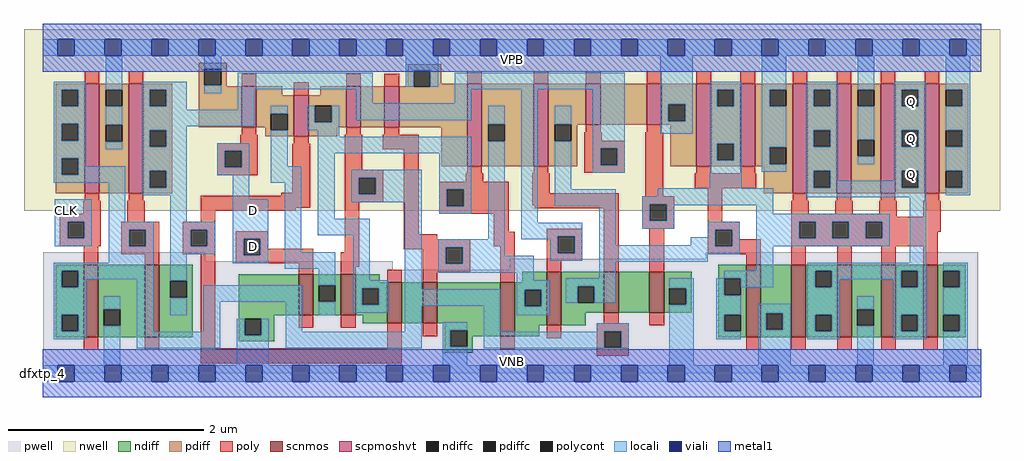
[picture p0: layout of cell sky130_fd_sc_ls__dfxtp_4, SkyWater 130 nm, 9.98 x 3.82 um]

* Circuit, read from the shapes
.subckt sky130_fd_sc_ls__dfxtp_4 CLK D VGND VNB VPB VPWR Q
XM1 VGND CLK n1 VNB sky130_fd_pr__nfet_01v8 w=0.74 l=0.15
XM2 n2 n1 VGND VNB sky130_fd_pr__nfet_01v8 w=0.74 l=0.15
XM3 n3 D VGND VNB sky130_fd_pr__nfet_01v8 w=0.42 l=0.15
XM4 n4 n1 n3 VNB sky130_fd_pr__nfet_01v8 w=0.42 l=0.15
XM5 n5 n2 n4 VNB sky130_fd_pr__nfet_01v8 w=0.42 l=0.15
XM6 VGND n6 n5 VNB sky130_fd_pr__nfet_01v8 w=0.42 l=0.15
XM7 n6 n4 VGND VNB sky130_fd_pr__nfet_01v8 w=0.55 l=0.15
XM8 n7 n2 n6 VNB sky130_fd_pr__nfet_01v8 w=0.55 l=0.15
XM9 n8 n1 n7 VNB sky130_fd_pr__nfet_01v8 w=0.42 l=0.15
XM10 VGND n9 n8 VNB sky130_fd_pr__nfet_01v8 w=0.42 l=0.15
XM11 VGND n7 n9 VNB sky130_fd_pr__nfet_01v8 w=0.74 l=0.15
XM12 Q n9 VGND VNB sky130_fd_pr__nfet_01v8 w=0.74 l=0.15 m=4
XM13 VPWR CLK n1 VPB sky130_fd_pr__pfet_01v8_hvt w=1.12 l=0.15
XM14 n2 n1 VPWR VPB sky130_fd_pr__pfet_01v8_hvt w=1.12 l=0.15
XM15 n3 D VPWR VPB sky130_fd_pr__pfet_01v8_hvt w=0.42 l=0.15
XM16 n4 n2 n3 VPB sky130_fd_pr__pfet_01v8_hvt w=0.42 l=0.15
XM17 n10 n1 n4 VPB sky130_fd_pr__pfet_01v8_hvt w=0.42 l=0.15
XM18 VPWR n6 n10 VPB sky130_fd_pr__pfet_01v8_hvt w=0.42 l=0.15
XM19 n6 n4 VPWR VPB sky130_fd_pr__pfet_01v8_hvt w=0.84 l=0.15
XM20 n7 n1 n6 VPB sky130_fd_pr__pfet_01v8_hvt w=0.84 l=0.15
XM21 n11 n2 n7 VPB sky130_fd_pr__pfet_01v8_hvt w=0.42 l=0.15
XM22 VPWR n9 n11 VPB sky130_fd_pr__pfet_01v8_hvt w=0.42 l=0.15
XM23 n9 n7 VPWR VPB sky130_fd_pr__pfet_01v8_hvt w=0.84 l=0.15 m=2
XM24 Q n9 VPWR VPB sky130_fd_pr__pfet_01v8_hvt w=1.12 l=0.15 m=4
.ends

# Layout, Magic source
magic
tech sky130A
magscale 1 2
<< nwell >>
rect -38 332 1958 704
<< pwell >>
rect 1 229 333 248
rect 1356 234 1914 248
rect 1 212 716 229
rect 955 212 1914 234
rect 1 49 1914 212
rect 0 0 1920 49
<< scnmos >>
rect 84 74 114 222
rect 209 74 239 222
rect 524 119 554 203
rect 610 119 640 203
rect 705 102 735 186
rect 777 102 807 186
rect 936 76 966 186
rect 1031 98 1061 208
rect 1148 124 1178 208
rect 1241 124 1271 208
rect 1439 74 1469 222
rect 1531 74 1561 222
rect 1625 74 1655 222
rect 1715 74 1745 222
rect 1801 74 1831 222
<< scpmoshvt >>
rect 86 368 116 592
rect 176 368 206 592
rect 407 503 437 587
rect 514 485 544 569
rect 621 503 651 587
rect 699 503 729 587
rect 868 424 898 592
rect 1004 424 1034 592
rect 1111 508 1141 592
rect 1236 508 1266 592
rect 1337 424 1367 592
rect 1427 424 1457 592
rect 1534 368 1564 592
rect 1624 368 1654 592
rect 1714 368 1744 592
rect 1804 368 1834 592
<< ndiff >>
rect 27 210 84 222
rect 27 176 39 210
rect 73 176 84 210
rect 27 120 84 176
rect 27 86 39 120
rect 73 86 84 120
rect 27 74 84 86
rect 114 131 209 222
rect 114 97 125 131
rect 159 97 209 131
rect 114 74 209 97
rect 239 189 307 222
rect 239 155 261 189
rect 295 155 307 189
rect 239 74 307 155
rect 401 119 524 203
rect 554 180 610 203
rect 554 146 565 180
rect 599 146 610 180
rect 554 119 610 146
rect 640 186 690 203
rect 981 186 1031 208
rect 640 174 705 186
rect 640 140 654 174
rect 688 140 705 174
rect 640 119 705 140
rect 401 112 474 119
rect 401 78 413 112
rect 447 78 474 112
rect 655 102 705 119
rect 735 102 777 186
rect 807 102 936 186
rect 401 66 474 78
rect 822 88 936 102
rect 822 54 834 88
rect 868 76 936 88
rect 966 171 1031 186
rect 966 137 986 171
rect 1020 137 1031 171
rect 966 98 1031 137
rect 1061 178 1148 208
rect 1061 144 1094 178
rect 1128 144 1148 178
rect 1061 124 1148 144
rect 1178 124 1241 208
rect 1271 174 1328 208
rect 1271 140 1282 174
rect 1316 140 1328 174
rect 1271 124 1328 140
rect 1382 194 1439 222
rect 1382 160 1394 194
rect 1428 160 1439 194
rect 1061 98 1111 124
rect 966 76 1016 98
rect 868 54 880 76
rect 822 42 880 54
rect 1382 120 1439 160
rect 1382 86 1394 120
rect 1428 86 1439 120
rect 1382 74 1439 86
rect 1469 123 1531 222
rect 1469 89 1480 123
rect 1514 89 1531 123
rect 1469 74 1531 89
rect 1561 210 1625 222
rect 1561 176 1580 210
rect 1614 176 1625 210
rect 1561 120 1625 176
rect 1561 86 1580 120
rect 1614 86 1625 120
rect 1561 74 1625 86
rect 1655 131 1715 222
rect 1655 97 1666 131
rect 1700 97 1715 131
rect 1655 74 1715 97
rect 1745 210 1801 222
rect 1745 176 1756 210
rect 1790 176 1801 210
rect 1745 120 1801 176
rect 1745 86 1756 120
rect 1790 86 1801 120
rect 1745 74 1801 86
rect 1831 210 1888 222
rect 1831 176 1842 210
rect 1876 176 1888 210
rect 1831 120 1888 176
rect 1831 86 1842 120
rect 1876 86 1888 120
rect 1831 74 1888 86
<< pdiff >>
rect 319 623 377 635
rect 27 580 86 592
rect 27 546 39 580
rect 73 546 86 580
rect 27 510 86 546
rect 27 476 39 510
rect 73 476 86 510
rect 27 440 86 476
rect 27 406 39 440
rect 73 406 86 440
rect 27 368 86 406
rect 116 580 176 592
rect 116 546 129 580
rect 163 546 176 580
rect 116 508 176 546
rect 116 474 129 508
rect 163 474 176 508
rect 116 368 176 474
rect 206 580 265 592
rect 206 546 219 580
rect 253 546 265 580
rect 206 497 265 546
rect 319 589 331 623
rect 365 589 377 623
rect 747 620 815 632
rect 319 587 377 589
rect 319 503 407 587
rect 437 569 490 587
rect 747 587 759 620
rect 568 569 621 587
rect 437 531 514 569
rect 437 503 467 531
rect 206 463 219 497
rect 253 463 265 497
rect 455 497 467 503
rect 501 497 514 531
rect 455 485 514 497
rect 544 547 621 569
rect 544 513 557 547
rect 591 513 621 547
rect 544 503 621 513
rect 651 503 699 587
rect 729 586 759 587
rect 793 592 815 620
rect 793 586 868 592
rect 729 503 868 586
rect 544 485 603 503
rect 206 414 265 463
rect 206 380 219 414
rect 253 380 265 414
rect 206 368 265 380
rect 815 424 868 503
rect 898 509 1004 592
rect 898 475 911 509
rect 945 475 1004 509
rect 898 424 1004 475
rect 1034 509 1111 592
rect 1034 475 1047 509
rect 1081 508 1111 509
rect 1141 508 1236 592
rect 1266 550 1337 592
rect 1266 516 1280 550
rect 1314 516 1337 550
rect 1266 508 1337 516
rect 1081 475 1093 508
rect 1034 424 1093 475
rect 1284 424 1337 508
rect 1367 580 1427 592
rect 1367 546 1380 580
rect 1414 546 1427 580
rect 1367 470 1427 546
rect 1367 436 1380 470
rect 1414 436 1427 470
rect 1367 424 1427 436
rect 1457 580 1534 592
rect 1457 546 1487 580
rect 1521 546 1534 580
rect 1457 462 1534 546
rect 1457 428 1487 462
rect 1521 428 1534 462
rect 1457 424 1534 428
rect 1475 368 1534 424
rect 1564 580 1624 592
rect 1564 546 1577 580
rect 1611 546 1624 580
rect 1564 497 1624 546
rect 1564 463 1577 497
rect 1611 463 1624 497
rect 1564 414 1624 463
rect 1564 380 1577 414
rect 1611 380 1624 414
rect 1564 368 1624 380
rect 1654 580 1714 592
rect 1654 546 1667 580
rect 1701 546 1714 580
rect 1654 478 1714 546
rect 1654 444 1667 478
rect 1701 444 1714 478
rect 1654 368 1714 444
rect 1744 580 1804 592
rect 1744 546 1757 580
rect 1791 546 1804 580
rect 1744 497 1804 546
rect 1744 463 1757 497
rect 1791 463 1804 497
rect 1744 414 1804 463
rect 1744 380 1757 414
rect 1791 380 1804 414
rect 1744 368 1804 380
rect 1834 580 1893 592
rect 1834 546 1847 580
rect 1881 546 1893 580
rect 1834 497 1893 546
rect 1834 463 1847 497
rect 1881 463 1893 497
rect 1834 414 1893 463
rect 1834 380 1847 414
rect 1881 380 1893 414
rect 1834 368 1893 380
<< ndiffc >>
rect 39 176 73 210
rect 39 86 73 120
rect 125 97 159 131
rect 261 155 295 189
rect 565 146 599 180
rect 654 140 688 174
rect 413 78 447 112
rect 834 54 868 88
rect 986 137 1020 171
rect 1094 144 1128 178
rect 1282 140 1316 174
rect 1394 160 1428 194
rect 1394 86 1428 120
rect 1480 89 1514 123
rect 1580 176 1614 210
rect 1580 86 1614 120
rect 1666 97 1700 131
rect 1756 176 1790 210
rect 1756 86 1790 120
rect 1842 176 1876 210
rect 1842 86 1876 120
<< pdiffc >>
rect 39 546 73 580
rect 39 476 73 510
rect 39 406 73 440
rect 129 546 163 580
rect 129 474 163 508
rect 219 546 253 580
rect 331 589 365 623
rect 219 463 253 497
rect 467 497 501 531
rect 557 513 591 547
rect 759 586 793 620
rect 219 380 253 414
rect 911 475 945 509
rect 1047 475 1081 509
rect 1280 516 1314 550
rect 1380 546 1414 580
rect 1380 436 1414 470
rect 1487 546 1521 580
rect 1487 428 1521 462
rect 1577 546 1611 580
rect 1577 463 1611 497
rect 1577 380 1611 414
rect 1667 546 1701 580
rect 1667 444 1701 478
rect 1757 546 1791 580
rect 1757 463 1791 497
rect 1757 380 1791 414
rect 1847 546 1881 580
rect 1847 463 1881 497
rect 1847 380 1881 414
<< poly >>
rect 86 592 116 618
rect 176 592 206 618
rect 407 587 437 613
rect 514 569 544 595
rect 621 587 651 613
rect 699 587 729 613
rect 407 488 437 503
rect 404 471 440 488
rect 868 592 898 618
rect 1004 592 1034 618
rect 1111 592 1141 618
rect 1236 592 1266 618
rect 1337 592 1367 618
rect 1427 592 1457 618
rect 1534 592 1564 618
rect 1624 592 1654 618
rect 1714 592 1744 618
rect 1804 592 1834 618
rect 621 488 651 503
rect 699 488 729 503
rect 357 455 440 471
rect 514 470 544 485
rect 357 421 373 455
rect 407 421 440 455
rect 357 405 440 421
rect 511 369 547 470
rect 86 353 116 368
rect 176 353 206 368
rect 488 363 547 369
rect 83 326 119 353
rect 35 310 119 326
rect 173 310 209 353
rect 323 339 547 363
rect 618 416 654 488
rect 696 458 769 488
rect 618 400 697 416
rect 618 366 647 400
rect 681 366 697 400
rect 618 350 697 366
rect 323 333 518 339
rect 323 310 353 333
rect 35 276 51 310
rect 85 276 119 310
rect 35 260 119 276
rect 161 294 239 310
rect 161 260 177 294
rect 211 260 239 294
rect 84 222 114 260
rect 161 244 239 260
rect 287 294 353 310
rect 287 260 303 294
rect 337 260 353 294
rect 287 244 353 260
rect 209 222 239 244
rect 84 48 114 74
rect 209 48 239 74
rect 323 51 353 244
rect 395 275 461 291
rect 395 241 411 275
rect 445 255 461 275
rect 445 241 554 255
rect 618 248 648 350
rect 739 284 769 458
rect 1111 493 1141 508
rect 1236 493 1266 508
rect 1108 476 1144 493
rect 1108 460 1191 476
rect 1108 426 1141 460
rect 1175 426 1191 460
rect 868 409 898 424
rect 1004 409 1034 424
rect 1108 410 1191 426
rect 865 392 901 409
rect 811 376 953 392
rect 811 342 827 376
rect 861 342 953 376
rect 1001 368 1037 409
rect 1001 344 1178 368
rect 1233 362 1269 493
rect 1337 409 1367 424
rect 1427 409 1457 424
rect 1334 379 1460 409
rect 811 326 953 342
rect 1007 338 1178 344
rect 923 290 953 326
rect 739 274 807 284
rect 739 258 875 274
rect 923 260 966 290
rect 739 254 825 258
rect 395 225 554 241
rect 524 203 554 225
rect 610 218 648 248
rect 777 224 825 254
rect 859 224 875 258
rect 610 203 640 218
rect 705 186 735 212
rect 777 208 875 224
rect 777 186 807 208
rect 936 186 966 260
rect 1031 280 1104 296
rect 1031 246 1054 280
rect 1088 246 1104 280
rect 1031 230 1104 246
rect 1031 208 1061 230
rect 1148 208 1178 338
rect 1226 346 1292 362
rect 1226 312 1242 346
rect 1276 312 1292 346
rect 1226 296 1292 312
rect 1360 310 1390 379
rect 1534 353 1564 368
rect 1624 353 1654 368
rect 1714 353 1744 368
rect 1804 353 1834 368
rect 1531 326 1567 353
rect 1621 326 1657 353
rect 1711 326 1747 353
rect 1531 320 1747 326
rect 1801 320 1837 353
rect 1531 310 1837 320
rect 1241 208 1271 296
rect 1360 294 1426 310
rect 1360 260 1376 294
rect 1410 274 1426 294
rect 1531 276 1547 310
rect 1581 276 1615 310
rect 1649 276 1683 310
rect 1717 290 1837 310
rect 1717 276 1831 290
rect 1410 260 1469 274
rect 1360 244 1469 260
rect 1439 222 1469 244
rect 1531 260 1831 276
rect 1531 222 1561 260
rect 1625 222 1655 260
rect 1715 222 1745 260
rect 1801 222 1831 260
rect 524 93 554 119
rect 610 93 640 119
rect 705 51 735 102
rect 777 76 807 102
rect 323 21 735 51
rect 1148 102 1178 124
rect 936 50 966 76
rect 1031 72 1061 98
rect 1133 86 1199 102
rect 1241 98 1271 124
rect 1133 52 1149 86
rect 1183 52 1199 86
rect 1133 36 1199 52
rect 1439 48 1469 74
rect 1531 48 1561 74
rect 1625 48 1655 74
rect 1715 48 1745 74
rect 1801 48 1831 74
<< polycont >>
rect 373 421 407 455
rect 647 366 681 400
rect 51 276 85 310
rect 177 260 211 294
rect 303 260 337 294
rect 411 241 445 275
rect 1141 426 1175 460
rect 827 342 861 376
rect 825 224 859 258
rect 1054 246 1088 280
rect 1242 312 1276 346
rect 1376 260 1410 294
rect 1547 276 1581 310
rect 1615 276 1649 310
rect 1683 276 1717 310
rect 1149 52 1183 86
<< locali >>
rect 0 649 31 683
rect 65 649 127 683
rect 161 649 223 683
rect 257 649 319 683
rect 353 649 415 683
rect 449 649 511 683
rect 545 649 607 683
rect 641 649 703 683
rect 737 649 799 683
rect 833 649 895 683
rect 929 649 991 683
rect 1025 649 1087 683
rect 1121 649 1183 683
rect 1217 649 1279 683
rect 1313 649 1375 683
rect 1409 649 1471 683
rect 1505 649 1567 683
rect 1601 649 1663 683
rect 1697 649 1759 683
rect 1793 649 1855 683
rect 1889 649 1920 683
rect 23 580 89 596
rect 23 546 39 580
rect 73 546 89 580
rect 23 510 89 546
rect 23 476 39 510
rect 73 476 89 510
rect 23 440 89 476
rect 129 580 163 649
rect 331 623 365 649
rect 129 508 163 546
rect 129 458 163 474
rect 203 580 295 596
rect 203 546 219 580
rect 253 546 295 580
rect 743 620 809 649
rect 331 573 365 589
rect 399 581 675 615
rect 743 586 759 620
rect 793 586 809 620
rect 203 539 295 546
rect 399 539 433 581
rect 641 552 675 581
rect 843 581 1191 615
rect 843 552 877 581
rect 203 505 433 539
rect 467 531 501 547
rect 203 497 295 505
rect 203 463 219 497
rect 253 463 295 497
rect 541 513 557 547
rect 591 513 607 547
rect 641 518 877 552
rect 541 497 607 513
rect 23 406 39 440
rect 73 424 89 440
rect 73 406 169 424
rect 23 390 169 406
rect 25 310 101 356
rect 25 276 51 310
rect 85 276 101 310
rect 25 260 101 276
rect 135 310 169 390
rect 203 414 295 463
rect 203 380 219 414
rect 253 380 295 414
rect 357 455 423 471
rect 357 421 373 455
rect 407 421 423 455
rect 357 405 423 421
rect 203 364 295 380
rect 261 310 295 364
rect 389 356 423 405
rect 467 424 501 497
rect 563 484 607 497
rect 911 509 945 547
rect 563 450 877 484
rect 467 390 529 424
rect 135 294 227 310
rect 135 260 177 294
rect 211 260 227 294
rect 135 226 227 260
rect 23 210 227 226
rect 23 176 39 210
rect 73 192 227 210
rect 73 176 89 192
rect 23 120 89 176
rect 23 86 39 120
rect 73 86 89 120
rect 23 70 89 86
rect 125 131 159 158
rect 125 17 159 97
rect 193 85 227 192
rect 261 294 353 310
rect 261 260 303 294
rect 337 260 353 294
rect 261 244 353 260
rect 389 275 461 356
rect 261 189 295 244
rect 389 241 411 275
rect 445 241 461 275
rect 389 225 461 241
rect 495 248 529 390
rect 563 316 597 450
rect 631 400 775 416
rect 631 366 647 400
rect 681 366 775 400
rect 631 350 775 366
rect 563 282 669 316
rect 495 214 599 248
rect 565 180 599 214
rect 261 119 295 155
rect 329 146 531 180
rect 329 85 363 146
rect 193 51 363 85
rect 397 78 413 112
rect 447 78 463 112
rect 397 17 463 78
rect 497 85 531 146
rect 565 119 599 146
rect 635 190 669 282
rect 635 174 707 190
rect 635 140 654 174
rect 688 140 707 174
rect 635 124 707 140
rect 741 172 775 350
rect 811 376 877 450
rect 811 342 827 376
rect 861 342 877 376
rect 811 326 877 342
rect 911 274 945 475
rect 979 308 1013 581
rect 1047 509 1081 547
rect 1047 376 1081 475
rect 1125 460 1191 581
rect 1263 550 1330 649
rect 1263 516 1280 550
rect 1314 516 1330 550
rect 1263 490 1330 516
rect 1364 580 1430 596
rect 1364 546 1380 580
rect 1414 546 1430 580
rect 1125 426 1141 460
rect 1175 426 1191 460
rect 1125 410 1191 426
rect 1364 470 1430 546
rect 1364 436 1380 470
rect 1414 436 1430 470
rect 1364 378 1430 436
rect 1471 580 1521 649
rect 1471 546 1487 580
rect 1471 462 1521 546
rect 1471 428 1487 462
rect 1471 412 1521 428
rect 1561 580 1627 596
rect 1561 546 1577 580
rect 1611 546 1627 580
rect 1561 497 1627 546
rect 1561 463 1577 497
rect 1611 463 1627 497
rect 1561 414 1627 463
rect 1667 580 1701 649
rect 1667 478 1701 546
rect 1667 428 1701 444
rect 1741 580 1807 596
rect 1741 546 1757 580
rect 1791 546 1807 580
rect 1741 497 1807 546
rect 1741 463 1757 497
rect 1791 463 1807 497
rect 1561 380 1577 414
rect 1611 394 1627 414
rect 1741 414 1807 463
rect 1741 394 1757 414
rect 1611 380 1757 394
rect 1791 380 1807 414
rect 1047 342 1172 376
rect 1258 362 1494 378
rect 979 280 1104 308
rect 979 274 1054 280
rect 809 258 945 274
rect 809 224 825 258
rect 859 240 945 258
rect 1038 246 1054 274
rect 1088 246 1104 280
rect 859 224 1004 240
rect 1038 230 1104 246
rect 1138 262 1172 342
rect 1226 346 1494 362
rect 1561 360 1807 380
rect 1847 580 1897 649
rect 1881 546 1897 580
rect 1847 497 1897 546
rect 1881 463 1897 497
rect 1847 414 1897 463
rect 1881 380 1897 414
rect 1847 364 1897 380
rect 1226 312 1242 346
rect 1276 344 1494 346
rect 1276 312 1292 344
rect 1226 296 1292 312
rect 1460 326 1494 344
rect 1460 310 1733 326
rect 1360 294 1426 310
rect 1360 278 1376 294
rect 1326 262 1376 278
rect 1138 260 1376 262
rect 1410 260 1426 294
rect 1138 244 1426 260
rect 1460 276 1547 310
rect 1581 276 1615 310
rect 1649 276 1683 310
rect 1717 276 1733 310
rect 1460 260 1733 276
rect 809 206 1004 224
rect 970 190 1004 206
rect 1138 228 1360 244
rect 1138 194 1172 228
rect 1460 210 1494 260
rect 1773 226 1807 360
rect 1394 194 1494 210
rect 741 138 936 172
rect 741 85 775 138
rect 497 51 775 85
rect 818 88 868 104
rect 818 54 834 88
rect 818 17 868 54
rect 902 85 936 138
rect 970 171 1036 190
rect 970 137 986 171
rect 1020 137 1036 171
rect 1070 178 1172 194
rect 1070 144 1094 178
rect 1128 144 1172 178
rect 1282 174 1332 194
rect 970 119 1036 137
rect 1316 140 1332 174
rect 1133 86 1199 102
rect 1133 85 1149 86
rect 902 52 1149 85
rect 1183 52 1199 86
rect 902 51 1199 52
rect 1282 17 1332 140
rect 1378 160 1394 194
rect 1428 176 1494 194
rect 1564 210 1807 226
rect 1564 176 1580 210
rect 1614 192 1756 210
rect 1614 176 1630 192
rect 1378 120 1428 160
rect 1378 86 1394 120
rect 1378 70 1428 86
rect 1464 123 1530 142
rect 1464 89 1480 123
rect 1514 89 1530 123
rect 1464 17 1530 89
rect 1564 120 1630 176
rect 1740 176 1756 192
rect 1790 176 1807 210
rect 1564 86 1580 120
rect 1614 86 1630 120
rect 1564 70 1630 86
rect 1666 131 1700 158
rect 1666 17 1700 97
rect 1740 120 1807 176
rect 1740 86 1756 120
rect 1790 86 1807 120
rect 1740 70 1807 86
rect 1842 210 1892 226
rect 1876 176 1892 210
rect 1842 120 1892 176
rect 1876 86 1892 120
rect 1842 17 1892 86
rect 0 -17 31 17
rect 65 -17 127 17
rect 161 -17 223 17
rect 257 -17 319 17
rect 353 -17 415 17
rect 449 -17 511 17
rect 545 -17 607 17
rect 641 -17 703 17
rect 737 -17 799 17
rect 833 -17 895 17
rect 929 -17 991 17
rect 1025 -17 1087 17
rect 1121 -17 1183 17
rect 1217 -17 1279 17
rect 1313 -17 1375 17
rect 1409 -17 1471 17
rect 1505 -17 1567 17
rect 1601 -17 1663 17
rect 1697 -17 1759 17
rect 1793 -17 1855 17
rect 1889 -17 1920 17
<< viali >>
rect 31 649 65 683
rect 127 649 161 683
rect 223 649 257 683
rect 319 649 353 683
rect 415 649 449 683
rect 511 649 545 683
rect 607 649 641 683
rect 703 649 737 683
rect 799 649 833 683
rect 895 649 929 683
rect 991 649 1025 683
rect 1087 649 1121 683
rect 1183 649 1217 683
rect 1279 649 1313 683
rect 1375 649 1409 683
rect 1471 649 1505 683
rect 1567 649 1601 683
rect 1663 649 1697 683
rect 1759 649 1793 683
rect 1855 649 1889 683
rect 31 -17 65 17
rect 127 -17 161 17
rect 223 -17 257 17
rect 319 -17 353 17
rect 415 -17 449 17
rect 511 -17 545 17
rect 607 -17 641 17
rect 703 -17 737 17
rect 799 -17 833 17
rect 895 -17 929 17
rect 991 -17 1025 17
rect 1087 -17 1121 17
rect 1183 -17 1217 17
rect 1279 -17 1313 17
rect 1375 -17 1409 17
rect 1471 -17 1505 17
rect 1567 -17 1601 17
rect 1663 -17 1697 17
rect 1759 -17 1793 17
rect 1855 -17 1889 17
<< metal1 >>
rect 0 683 1920 715
rect 0 649 31 683
rect 65 649 127 683
rect 161 649 223 683
rect 257 649 319 683
rect 353 649 415 683
rect 449 649 511 683
rect 545 649 607 683
rect 641 649 703 683
rect 737 649 799 683
rect 833 649 895 683
rect 929 649 991 683
rect 1025 649 1087 683
rect 1121 649 1183 683
rect 1217 649 1279 683
rect 1313 649 1375 683
rect 1409 649 1471 683
rect 1505 649 1567 683
rect 1601 649 1663 683
rect 1697 649 1759 683
rect 1793 649 1855 683
rect 1889 649 1920 683
rect 0 617 1920 649
rect 0 17 1920 49
rect 0 -17 31 17
rect 65 -17 127 17
rect 161 -17 223 17
rect 257 -17 319 17
rect 353 -17 415 17
rect 449 -17 511 17
rect 545 -17 607 17
rect 641 -17 703 17
rect 737 -17 799 17
rect 833 -17 895 17
rect 929 -17 991 17
rect 1025 -17 1087 17
rect 1121 -17 1183 17
rect 1217 -17 1279 17
rect 1313 -17 1375 17
rect 1409 -17 1471 17
rect 1505 -17 1567 17
rect 1601 -17 1663 17
rect 1697 -17 1759 17
rect 1793 -17 1855 17
rect 1889 -17 1920 17
rect 0 -49 1920 -17
<< labels >>
rlabel comment s 0 0 0 0 4 dfxtp_4
flabel pwell s 0 0 1920 49 0 FreeSans 200 0 0 0 VNB
port 4 nsew ground bidirectional
flabel nwell s 0 617 1920 666 0 FreeSans 200 0 0 0 VPB
port 5 nsew power bidirectional
flabel metal1 s 0 617 1920 666 0 FreeSans 340 0 0 0 VPWR
port 6 nsew power bidirectional abutment
flabel metal1 s 0 0 1920 49 0 FreeSans 340 0 0 0 VGND
port 3 nsew ground bidirectional abutment
flabel locali s 1759 390 1793 424 0 FreeSans 340 0 0 0 Q
port 7 nsew signal output
flabel locali s 1759 464 1793 498 0 FreeSans 340 0 0 0 Q
port 7 nsew signal output
flabel locali s 1759 538 1793 572 0 FreeSans 340 0 0 0 Q
port 7 nsew signal output
flabel locali s 415 242 449 276 0 FreeSans 340 0 0 0 D
port 2 nsew signal input
flabel locali s 415 316 449 350 0 FreeSans 340 0 0 0 D
port 2 nsew signal input
flabel locali s 31 316 65 350 0 FreeSans 340 0 0 0 CLK
port 1 nsew clock input
<< properties >>
string LEFsite unit
string LEFclass CORE
string FIXED_BBOX 0 0 1920 666
string GDS_FILE $PDKPATH/libs.ref/sky130_fd_sc_ls/gds/sky130_fd_sc_ls.gds
string LEFsymmetry X Y
string GDS_END 24720
string GDS_START 9868
<< end >>
